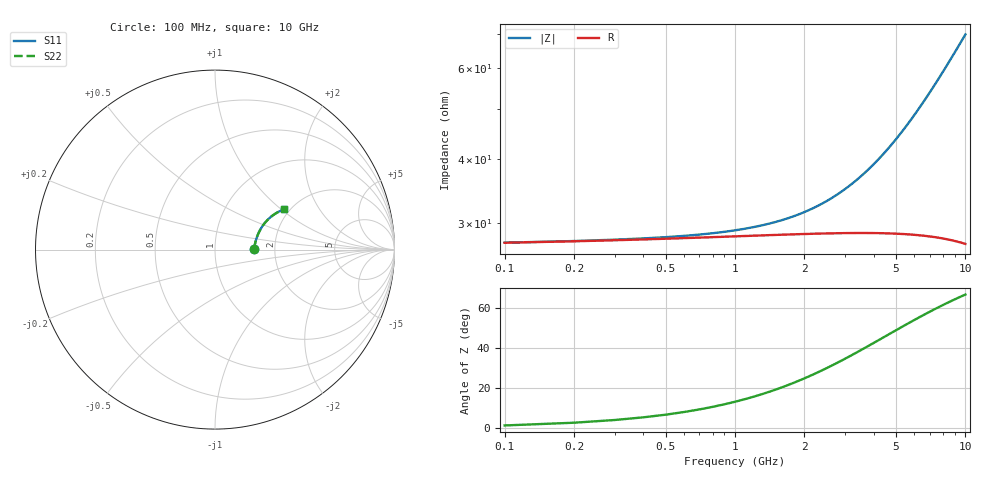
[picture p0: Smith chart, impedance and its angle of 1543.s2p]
# Hz S RI R 50.00
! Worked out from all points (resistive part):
!   100 points, 100 MHz to 10 GHz, reference 50 ohm
!   read as one part in series: R = 27.5 ohm at 100 MHz
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1e8  0.2158 0.0032  0.7842 -0.00491  0.7842 -0.00491  0.2158 0.0032
2e8  0.217 0.00638  0.783 -0.0098  0.783 -0.0098  0.217 0.00638
4e8  0.2186 0.0127  0.7813 -0.0195  0.7813 -0.0195  0.2186 0.0127
8e8  0.2214 0.0252  0.7785 -0.0389  0.7785 -0.0389  0.2214 0.0252
1.1e9  0.2235 0.0345  0.7763 -0.0533  0.7763 -0.0533  0.2235 0.0345
1.4e9  0.2258 0.0437  0.7739 -0.0676  0.7739 -0.0676  0.2258 0.0437
1.8e9  0.2291 0.0558  0.7703 -0.0865  0.7703 -0.0865  0.2291 0.0558
2.1e9  0.232 0.0647  0.7673 -0.1006  0.7673 -0.1006  0.232 0.0647
2.5e9  0.2361 0.0764  0.7628 -0.1192  0.7628 -0.1192  0.2361 0.0764
2.9e9  0.2408 0.0878  0.7578 -0.1375  0.7578 -0.1375  0.2408 0.0878
3.4e9  0.2473 0.1017  0.7508 -0.16  0.7508 -0.16  0.2473 0.1017
3.8e9  0.2531 0.1125  0.7445 -0.1776  0.7445 -0.1776  0.2531 0.1125
4.2e9  0.2593 0.1229  0.7378 -0.1949  0.7378 -0.1949  0.2593 0.1229
4.6e9  0.266 0.133  0.7305 -0.2118  0.7305 -0.2118  0.266 0.133
5.1e9  0.2749 0.145  0.7208 -0.2324  0.7208 -0.2324  0.2749 0.145
5.9e9  0.2905 0.1628  0.7038 -0.2641  0.7038 -0.2641  0.2905 0.1628
6.7e9  0.3074 0.1789  0.6852 -0.294  0.6852 -0.294  0.3074 0.1789
7.2e9  0.3186 0.188  0.6729 -0.3118  0.6729 -0.3118  0.3186 0.188
7.6e9  0.3278 0.1947  0.6627 -0.3255  0.6627 -0.3255  0.3278 0.1947
8.4e9  0.3468 0.2067  0.6414 -0.3514  0.6414 -0.3514  0.3468 0.2067
9.2e9  0.3665 0.2167  0.6193 -0.3754  0.6193 -0.3754  0.3665 0.2167
1e10  0.3867 0.2247  0.5966 -0.3976  0.5966 -0.3976  0.3867 0.2247
